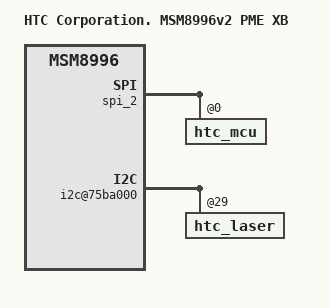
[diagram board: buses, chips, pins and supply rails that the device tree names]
/* Copyright (c) 2015, The Linux Foundation. All rights reserved.
 *
 * This program is free software; you can redistribute it and/or modify
 * it under the terms of the GNU General Public License version 2 and
 * only version 2 as published by the Free Software Foundation.
 *
 * This program is distributed in the hope that it will be useful,
 * but WITHOUT ANY WARRANTY; without even the implied warranty of
 * MERCHANTABILITY or FITNESS FOR A PARTICULAR PURPOSE.  See the
 * GNU General Public License for more details.
 */


/dts-v1/;

#include "msm8996-v2.dtsi"
#include "msm8996-htc_pme.dtsi"
#include "msm8996-camera-sensor-pme.dtsi"

/ {
	model = "HTC Corporation. MSM8996v2 PME XB";
	qcom,msm-id = <402 0x20001>, <403 0x20001>, <405 0x20001>, <406 0x20001>;
	qcom,board-id = <0x1 0>;
};

&spi_2 {
        htc_mcu@0 {
                mcu,need_notify_display = <0>;
                mcu,need_compass_filter = <1>;
	};
};

&soc {
        i2c@75ba000 {
                htc_laser@29 {
                        laser,hw_workaround = <1>;
                };
        };
};
